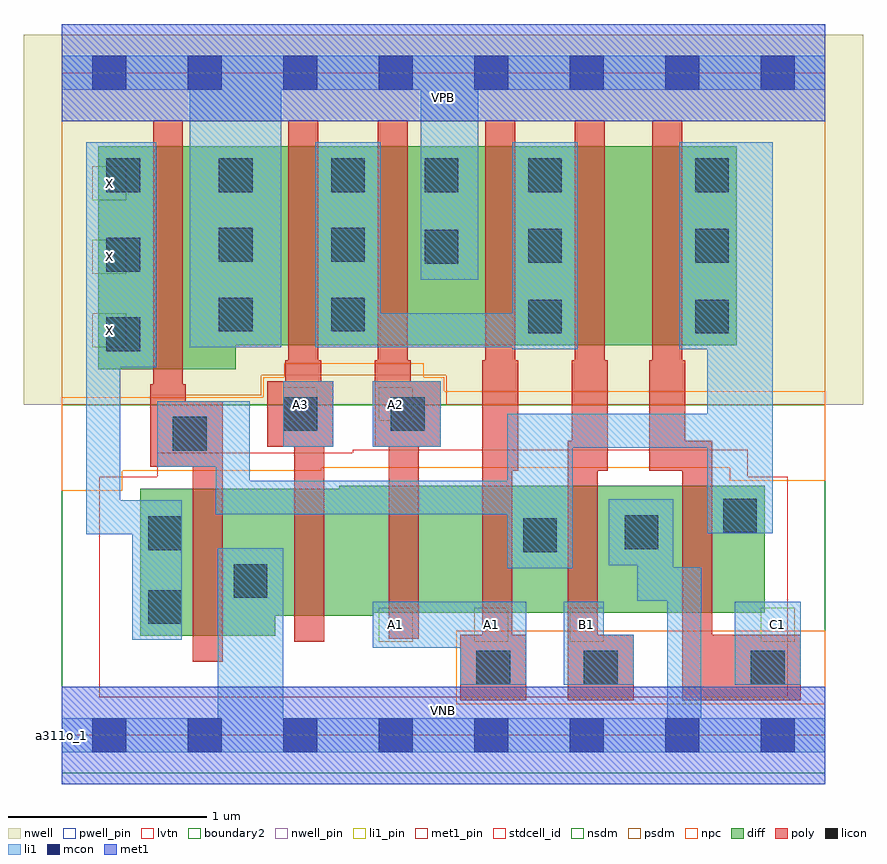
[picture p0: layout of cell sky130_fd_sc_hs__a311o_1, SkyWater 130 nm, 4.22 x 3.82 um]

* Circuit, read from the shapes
.subckt sky130_fd_sc_hs__a311o_1 A1 A2 A3 B1 C1 VGND VNB VPB VPWR X
XM1 VGND n1 X VNB sky130_fd_pr__nfet_01v8_lvt w=0.74 l=0.15
XM2 n2 A3 VGND VNB sky130_fd_pr__nfet_01v8_lvt w=0.64 l=0.15
XM3 n3 A2 n2 VNB sky130_fd_pr__nfet_01v8_lvt w=0.64 l=0.15
XM4 n1 A1 n3 VNB sky130_fd_pr__nfet_01v8_lvt w=0.64 l=0.15
XM5 VGND B1 n1 VNB sky130_fd_pr__nfet_01v8_lvt w=0.64 l=0.15
XM6 n1 C1 VGND VNB sky130_fd_pr__nfet_01v8_lvt w=0.64 l=0.15
XM7 VPWR n1 X VPB sky130_fd_pr__pfet_01v8 w=1.12 l=0.15
XM8 n4 A3 VPWR VPB sky130_fd_pr__pfet_01v8 w=1 l=0.15
XM9 VPWR A2 n4 VPB sky130_fd_pr__pfet_01v8 w=1 l=0.15
XM10 n4 A1 VPWR VPB sky130_fd_pr__pfet_01v8 w=1 l=0.15
XM11 n5 B1 n4 VPB sky130_fd_pr__pfet_01v8 w=1 l=0.15
XM12 n1 C1 n5 VPB sky130_fd_pr__pfet_01v8 w=1 l=0.15
.ends

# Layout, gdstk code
import gdstk
lib = gdstk.Library(unit=1e-6, precision=1e-09)
def R(c, l, rs):  # rectangles x0, y0, x1, y1
    for r in rs: c.add(gdstk.rectangle(r[:2], r[2:], *l))
def A(c, l, x, y, w, h, nx, ny, dx, dy):  # array of equal rectangles
    R(c, l, [(x+i*dx, y+j*dy, x+i*dx+w, y+j*dy+h) for i in range(nx) for j in range(ny)])
def P(c, l, *ps):  # polygons
    for p in ps: c.add(gdstk.Polygon(p, *l))
nwell_pin = (64, 16)
nwell = (64, 20)
diff = (65, 20)
poly = (66, 20)
licon = (66, 44)
li1_pin = (67, 16)
li1 = (67, 20)
mcon = (67, 44)
met1_pin = (68, 16)
met1 = (68, 20)
stdcell_id = (81, 4)
nsdm = (93, 44)
psdm = (94, 20)
npc = (95, 20)
pwell_pin = (122, 16)
lvtn = (125, 44)
boundary2 = (236, 0)

sky130_fd_sc_hs__a311o_1 = lib.new_cell('sky130_fd_sc_hs__a311o_1')
R(sky130_fd_sc_hs__a311o_1, nwell_pin, [(0,3.085,3.84,3.33)])
R(sky130_fd_sc_hs__a311o_1, nwell, [(-0.19,1.66,4.03,3.52)])
P(sky130_fd_sc_hs__a311o_1, diff, [(3.395,2.96),(0.185,2.96),(0.185,1.84),(0.875,1.84),(0.875,1.96),(3.395,1.96)],
  [(3.535,1.255),(1.395,1.255),(1.395,1.24),(0.395,1.24),(0.395,0.5),(1.075,0.5),(1.075,0.6),(1.57,0.6),(1.57,0.615),(3.535,0.615)])
P(sky130_fd_sc_hs__a311o_1, poly, [(3.715,0.505),(3.27,0.505),(3.27,1.48),(3.135,1.48),(3.135,1.885),(3.12,1.885),(3.12,3.09),(2.97,3.09),(2.97,1.885),(2.955,1.885),(2.955,1.33),(3.12,1.33),(3.12,0.175),(3.715,0.175)],
  [(2.875,0.505),(2.695,0.505),(2.695,1.33),(2.745,1.33),(2.745,1.885),(2.73,1.885),(2.73,3.09),(2.58,3.09),(2.58,1.885),(2.565,1.885),(2.565,1.48),(2.545,1.48),(2.545,0.175),(2.875,0.175)],
  [(2.335,0.505),(2.265,0.505),(2.265,1.33),(2.295,1.33),(2.295,1.885),(2.28,1.885),(2.28,3.09),(2.13,3.09),(2.13,1.885),(2.115,1.885),(2.115,0.505),(2.005,0.505),(2.005,0.175),(2.335,0.175)],
  [(1.905,1.78),(1.755,1.78),(1.755,1.885),(1.74,1.885),(1.74,3.09),(1.59,3.09),(1.59,1.885),(1.575,1.885),(1.575,1.45),(1.645,1.45),(1.645,0.485),(1.795,0.485),(1.795,1.45),(1.905,1.45)],
  [(1.365,1.78),(1.305,1.78),(1.305,1.885),(1.29,1.885),(1.29,3.09),(1.14,3.09),(1.14,1.885),(1.125,1.885),(1.125,1.78),(1.035,1.78),(1.035,1.45),(1.17,1.45),(1.17,0.47),(1.32,0.47),(1.32,1.45),(1.365,1.45)],
  [(0.81,1.68),(0.625,1.68),(0.625,1.765),(0.61,1.765),(0.61,3.09),(0.46,3.09),(0.46,1.765),(0.445,1.765),(0.445,1.35),(0.66,1.35),(0.66,0.37),(0.81,0.37)])
A(sky130_fd_sc_hs__a311o_1, licon, 2.345, 2.02, 0.17, 0.17, 1, 3, 0, 0.355)
A(sky130_fd_sc_hs__a311o_1, licon, 3.185, 2.02, 0.17, 0.17, 1, 3, 0, 0.355)
A(sky130_fd_sc_hs__a311o_1, licon, 0.225, 2.73, 0.17, 0.17, 3, 1, 0.565, 0)
R(sky130_fd_sc_hs__a311o_1, licon, [(2.085,0.255,2.255,0.425), (2.625,0.255,2.795,0.425), (3.465,0.255,3.635,0.425), (0.435,0.56,0.605,0.73), (0.865,0.69,1.035,0.86), (2.32,0.92,2.49,1.09), (0.435,0.93,0.605,1.1), (2.83,0.935,3,1.105), (3.325,1.02,3.495,1.19), (0.56,1.43,0.73,1.6), (1.115,1.53,1.285,1.7), (1.655,1.53,1.825,1.7), (0.225,1.93,0.395,2.1), (0.79,2.03,0.96,2.2), (1.355,2.03,1.525,2.2), (0.225,2.33,0.395,2.5), (1.825,2.37,1.995,2.54), (0.79,2.38,0.96,2.55), (1.355,2.38,1.525,2.55), (1.825,2.73,1.995,2.9)])
A(sky130_fd_sc_hs__a311o_1, li1_pin, 1.595, 0.47, 0.17, 0.17, 3, 1, 0.48, 0)
A(sky130_fd_sc_hs__a311o_1, li1_pin, 0.155, 1.95, 0.17, 0.17, 1, 3, 0, 0.37)
R(sky130_fd_sc_hs__a311o_1, li1_pin, [(3.515,0.47,3.685,0.64), (1.115,1.58,1.285,1.75), (1.595,1.58,1.765,1.75)])
R(sky130_fd_sc_hs__a311o_1, li1, [(3.385,0.255,3.715,0.67), (1.115,1.45,1.365,1.78), (1.565,1.45,1.905,1.78)])
P(sky130_fd_sc_hs__a311o_1, li1, [(1.805,2.29),(1.805,3.245),(1.105,3.245),(1.105,1.95),(0.645,1.95),(0.645,3.245),(0,3.245),(0,3.415),(3.84,3.415),(3.84,3.245),(2.095,3.245),(2.095,2.29)],
  [(3.84,0.085),(3.215,0.085),(3.215,0.845),(3.075,0.845),(3.075,1.185),(2.75,1.185),(2.75,0.855),(2.895,0.855),(2.895,0.675),(3.045,0.675),(3.045,0.085),(1.115,0.085),(1.115,0.94),(0.785,0.94),(0.785,0.085),(0,0.085),(0,-0.085),(3.84,-0.085)],
  [(0.125,2.98),(0.475,2.98),(0.475,1.85),(0.295,1.85),(0.295,1.18),(0.605,1.18),(0.605,0.48),(0.355,0.48),(0.355,1.01),(0.125,1.01)],
  [(2.525,0.255),(2.525,0.67),(2.725,0.67),(2.725,0.505),(2.875,0.505),(2.875,0.255)],
  [(2.005,0.255),(2.005,0.44),(1.565,0.44),(1.565,0.67),(2.335,0.67),(2.335,0.255)],
  [(0.775,1.11),(0.775,1.35),(0.48,1.35),(0.48,1.68),(0.945,1.68),(0.945,1.28),(2.24,1.28),(2.24,1.615),(3.245,1.615),(3.245,1.94),(3.105,1.94),(3.105,2.98),(3.575,2.98),(3.575,1.015),(3.245,1.015),(3.245,1.445),(2.57,1.445),(2.57,0.84),(2.24,0.84),(2.24,1.11)],
  [(2.265,1.94),(2.265,1.95),(1.275,1.95),(1.275,2.98),(1.605,2.98),(1.605,2.12),(2.265,2.12),(2.265,2.98),(2.595,2.98),(2.595,1.94)])
A(sky130_fd_sc_hs__a311o_1, mcon, 0.155, -0.085, 0.17, 0.17, 8, 2, 0.48, 3.33)
R(sky130_fd_sc_hs__a311o_1, met1_pin, [(0,0,3.84,0.245), (0,3.085,3.84,3.33)])
R(sky130_fd_sc_hs__a311o_1, met1, [(0,-0.245,3.84,0.245), (0,3.085,3.84,3.575)])
R(sky130_fd_sc_hs__a311o_1, stdcell_id, [(0,0,3.84,3.33)])
R(sky130_fd_sc_hs__a311o_1, nsdm, [(0,-0.19,3.84,1.66)])
P(sky130_fd_sc_hs__a311o_1, psdm, [(3.84,3.52),(0,3.52),(0,1.66),(0.45,1.66),(0.45,1.71),(1.005,1.71),(1.005,1.81),(1.935,1.81),(1.935,1.66),(3.84,1.66)])
R(sky130_fd_sc_hs__a311o_1, npc, [(1.985,0.155,3.84,0.525)])
P(sky130_fd_sc_hs__a311o_1, npc, [(3.84,1.73),(1.925,1.73),(1.925,1.8),(1.82,1.8),(1.82,1.87),(1.12,1.87),(1.12,1.8),(1.015,1.8),(1.015,1.7),(0,1.7),(0,1.23),(0.305,1.23),(0.305,1.33),(1.305,1.33),(1.305,1.345),(3.36,1.345),(3.36,1.28),(3.84,1.28)])
R(sky130_fd_sc_hs__a311o_1, pwell_pin, [(0,0,3.84,0.245)])
P(sky130_fd_sc_hs__a311o_1, lvtn, [(3.65,1.3),(3.45,1.3),(3.45,1.435),(1.465,1.435),(1.465,1.42),(0.48,1.42),(0.48,1.3),(0.19,1.3),(0.19,0.19),(3.65,0.19)])
R(sky130_fd_sc_hs__a311o_1, boundary2, [(0,0,3.84,3.33)])
sky130_fd_sc_hs__a311o_1.add(gdstk.Label('a311o_1', (0,0), layer=83, texttype=44))
sky130_fd_sc_hs__a311o_1.add(gdstk.Label('VNB', (1.92,0.123), layer=64, texttype=59))
sky130_fd_sc_hs__a311o_1.add(gdstk.Label('VPB', (1.92,3.208), layer=64, texttype=5))
sky130_fd_sc_hs__a311o_1.add(gdstk.Label('VPWR', (1.92,3.208), layer=68, texttype=5))
sky130_fd_sc_hs__a311o_1.add(gdstk.Label('VGND', (1.92,0.123), layer=68, texttype=5))
sky130_fd_sc_hs__a311o_1.add(gdstk.Label('X', (0.24,2.035), layer=67, texttype=5))
sky130_fd_sc_hs__a311o_1.add(gdstk.Label('X', (0.24,2.405), layer=67, texttype=5))
sky130_fd_sc_hs__a311o_1.add(gdstk.Label('X', (0.24,2.775), layer=67, texttype=5))
sky130_fd_sc_hs__a311o_1.add(gdstk.Label('C1', (3.6,0.555), layer=67, texttype=5))
sky130_fd_sc_hs__a311o_1.add(gdstk.Label('B1', (2.64,0.555), layer=67, texttype=5))
sky130_fd_sc_hs__a311o_1.add(gdstk.Label('A3', (1.2,1.665), layer=67, texttype=5))
sky130_fd_sc_hs__a311o_1.add(gdstk.Label('A2', (1.68,1.665), layer=67, texttype=5))
sky130_fd_sc_hs__a311o_1.add(gdstk.Label('A1', (1.68,0.555), layer=67, texttype=5))
sky130_fd_sc_hs__a311o_1.add(gdstk.Label('A1', (2.16,0.555), layer=67, texttype=5))

lib.write_gds('sky130_fd_sc_hs__a311o_1.gds')
